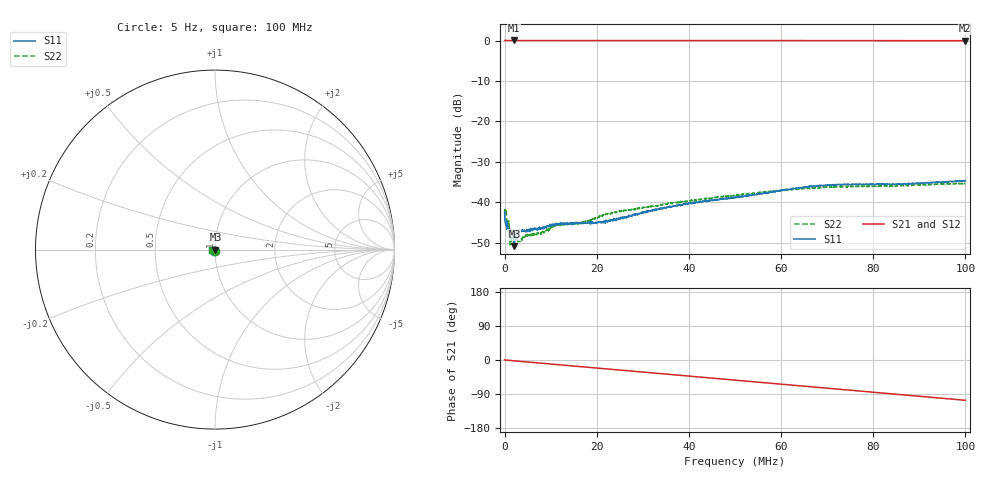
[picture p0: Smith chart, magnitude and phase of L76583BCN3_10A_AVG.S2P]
!Agilent Technologies,E5061B,MY49102235,A.02.00
!Date: Tue Jul 11 15:38:44 2023
!Data & Calibration Information:
!Freq	S11:SOLT2(ON)	S21:SOLT2(ON)	S12:SOLT2(ON)	S22:SOLT2(ON)
# Hz S RI R 50
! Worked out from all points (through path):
!   1600 points, 5 Hz to 100 MHz, reference 50 ohm
!   highest |S21| = 0.02 dB at 1.939 MHz (marker M1); lowest = 0.0 dB at 99.81 MHz (marker M2)
!   group delay of S21, straight-line fit = 2.95 ns
!   lowest |S11| = -50.8 dB at 2.126 MHz (marker M3), VSWR 1.01, Z = 50.3 - j0.0951 ohm
!   |S11| at or under -10 dB: start of sweep to end of sweep
!   |S22| runs from -50.5 to -35.2 dB; largest |S21 - S12| = 0.0027
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5  -0.00522 -0.00564  1.002 0.00799  1 0.0102  -0.00154 -0.00756
437778.6  0.00515 -0.000165  1.001 -0.00586  1.001 -0.00655  0.00661 -0.00181
625395.8  0.00508 -5.18e-05  1.002 -0.011  1.002 -0.0107  0.0061 -0.000406
1000630  0.00378 0.00018  1.001 -0.0174  1.001 -0.017  0.00515 -0.000758
1500943  0.00439 -0.00107  1.002 -0.0265  1.001 -0.0262  0.00304 -0.00224
1688560  0.00389 -0.00111  1 -0.031  1.001 -0.0309  0.00364 -0.00196
1938717  0.00318 -0.000484  1.002 -0.0355  1.001 -0.035  0.00347 -0.000225
2126334  0.00272 -0.000945  1.001 -0.0394  1 -0.0388  0.0039 -0.000374
2439029  0.00383 -0.000723  0.9996 -0.0456  0.9992 -0.045  0.0037 -0.000249
2939342  0.00433 -0.000819  0.9995 -0.0543  0.9989 -0.0542  0.00327 -0.000438
3502194  0.00436 -0.00118  0.9987 -0.0646  0.9985 -0.0644  0.00343 -0.000582
4627897  0.00426 -0.00138  0.9974 -0.0854  0.9971 -0.0849  0.00382 -0.000978
8255164  0.00333 -0.00358  0.9895 -0.1524  0.9893 -0.1522  0.00313 -0.00311
1.11945e7  0.00219 -0.00476  0.9796 -0.206  0.9795 -0.2055  0.00123 -0.00518
1.669794e7  0.000684 -0.00549  0.9531 -0.3046  0.953 -0.3042  0.000298 -0.00557
2.320201e7  0.000269 -0.00596  0.9097 -0.417  0.9096 -0.4169  0.00217 -0.00714
3.333334e7  -0.00212 -0.00803  0.8156 -0.5794  0.8154 -0.579  -0.00111 -0.00907
5.003127e7  -0.00601 -0.00977  0.5997 -0.8  0.5997 -0.7997  -0.00671 -0.0102
6.672921e7  -0.0127 -0.0097  0.3266 -0.9436  0.3268 -0.9435  -0.0121 -0.0089
8.33646e7  -0.0158 -0.00546  0.0243 -0.9969  0.0243 -0.9969  -0.015 -0.00537
9.981238e7  -0.0184 -0.000972  -0.2766 -0.9562  -0.2765 -0.9564  -0.0171 -0.000871
1e8  -0.0185 -0.000968  -0.2801 -0.9554  -0.2799 -0.9554  -0.0171 -0.00103
